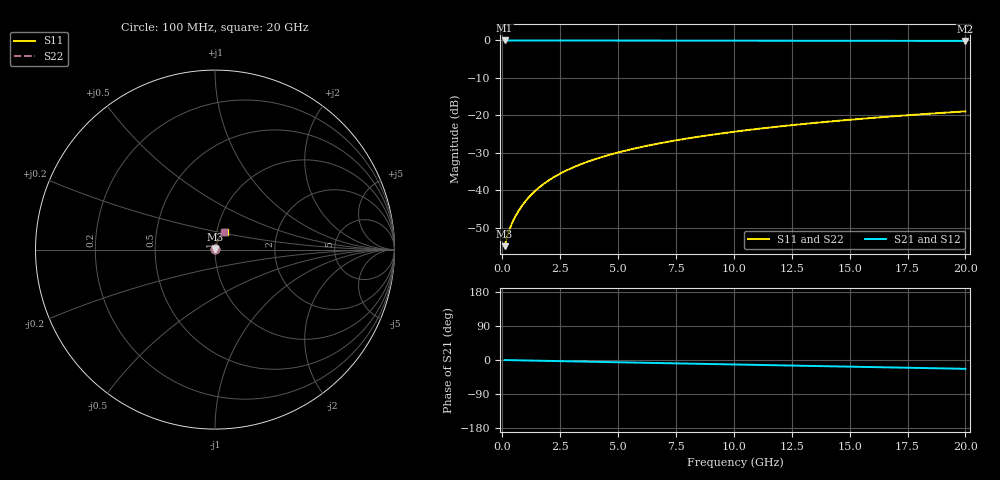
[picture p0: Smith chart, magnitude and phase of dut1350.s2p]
! Touchstone file exported from HFSS 2026.1.0
!  File:  C:/ffzhzh/LocalFiles/Ansys_Project_Files/temp_train_BSMRDL_1350_1783179017_51560.aedt
!  Generated:  11:31:28 PM Jul  4, 2026
!  Design:  BSMRDL
!  Project:  temp_train_BSMRDL_1350_1783179017_51560
! Variables:
!  h_bsmrdl = 4.72um
!  h_ox = 20um
!  h_rdl = 5um
!  h_sub = 80um
!  h_tmrdl = 5um
!  h_tsv = 80um
!  h_via = 3um
!  l_bsmrdl = 387.66um
!  l_sub = 787.66um
!  l_tmrdl = 200um
!  m_sub = 200um
!  pitch = 31.07um
!  r_tsv = 6um
!  s_tmrdl = 10um
!  w_bsmrdl = 21.12um
!  w_sub = 500um
!  w_tmrdl = 12um
!  x_tsv_center1 = 206um
!  x_tsv_center2 = 614.78um
!  x_tsv_center3 = 826.78um
!  x_tsv_center4 = 1235.56um
!  x_tsv_center5 = 1447.56um
!  x_tsv_center6 = 1856.34um
# GHz S MA R 50.000000
! Terminal data exported
! Port[1] = BSM_RDL1_1_T1
! Port[2] = BSM_RDL1_1_T2
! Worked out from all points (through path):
!   200 points, 100 MHz to 20 GHz, reference 50 ohm
!   highest |S21| = -0.01 dB at 100 MHz (marker M1); lowest = -0.1 dB at 20 GHz (marker M2)
!   group delay of S21, straight-line fit = 3.22 ps
!   lowest |S11| = -54.9 dB at 100 MHz (marker M3), VSWR 1.00, Z = 50.2 + j0.0871 ohm
!   |S11| at or under -10 dB: start of sweep to end of sweep
!   |S22| runs from -54.9 to -18.9 dB; largest |S21 - S12| = 7.3e-15
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0.1  0.001799 28.9  0.9984 -0.1  0.9984 -0.1  0.001799 28.9
! Gamma 0 0 0 0
! Port Impedance 50 0 50 0
0.2  0.00237 43.0  0.9983 -0.3  0.9983 -0.3  0.00237 43.0
0.3  0.002946 50.7  0.9981 -0.4  0.9981 -0.4  0.002946 50.7
0.4  0.003516 56.1  0.998 -0.5  0.998 -0.5  0.003515 56.1
0.5  0.004093 60.3  0.998 -0.6  0.998 -0.6  0.004093 60.3
0.6  0.004684 63.5  0.9979 -0.7  0.9979 -0.7  0.004683 63.5
0.8  0.0059 68.1  0.9978 -1.0  0.9978 -1.0  0.005899 68.1
1  0.007149 71.0  0.9978 -1.2  0.9978 -1.2  0.007148 71.0
1.2  0.008416 73.1  0.9977 -1.5  0.9977 -1.5  0.008416 73.1
1.4  0.009694 74.4  0.9976 -1.7  0.9976 -1.7  0.009694 74.4
1.7  0.01162 75.8  0.9975 -2.1  0.9975 -2.1  0.01162 75.8
2.2  0.01481 76.9  0.9972 -2.7  0.9972 -2.7  0.01481 76.9
2.8  0.0186 77.3  0.9968 -3.4  0.9968 -3.4  0.0186 77.3
3.5  0.02295 77.2  0.9963 -4.2  0.9963 -4.2  0.02295 77.2
4.2  0.0272 76.9  0.9958 -5.1  0.9958 -5.1  0.0272 76.9
5  0.03198 76.3  0.9952 -6.0  0.9952 -6.0  0.03198 76.3
6.8  0.04243 74.9  0.9939 -8.1  0.9939 -8.1  0.04243 74.9
8.3  0.05093 73.6  0.9928 -9.8  0.9928 -9.8  0.05093 73.6
10.1  0.06094 71.9  0.9916 -11.9  0.9916 -11.9  0.06094 71.9
13.4  0.07887 68.8  0.9893 -15.7  0.9893 -15.7  0.07887 68.8
16.7  0.09625 65.5  0.9869 -19.5  0.9869 -19.5  0.09626 65.5
20  0.1131 62.1  0.9844 -23.3  0.9844 -23.3  0.1131 62.1
